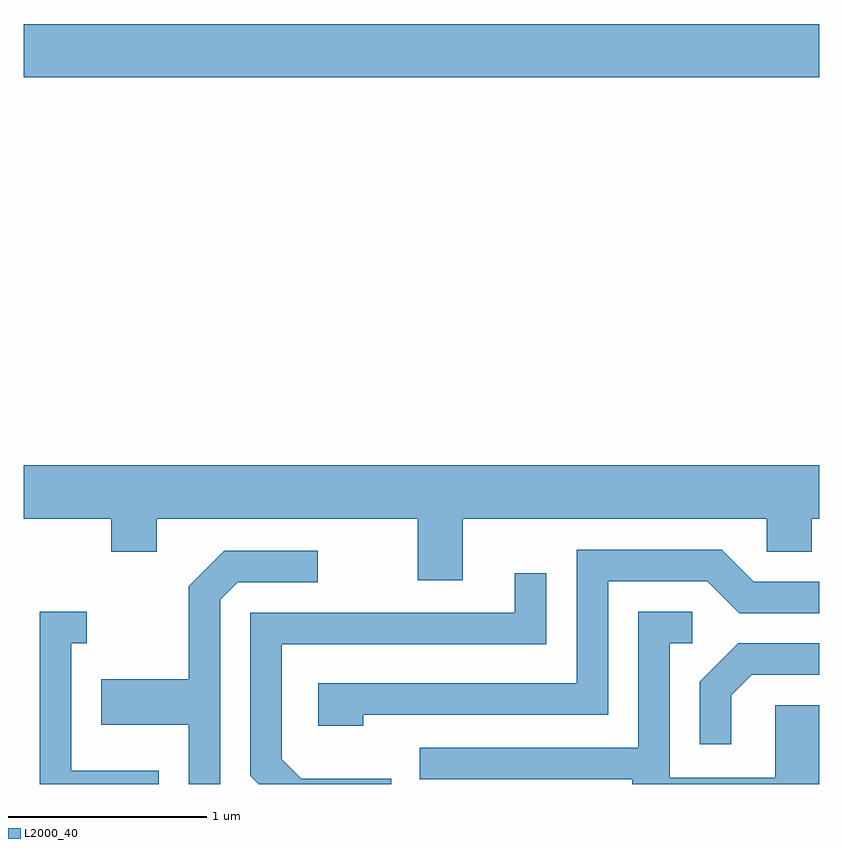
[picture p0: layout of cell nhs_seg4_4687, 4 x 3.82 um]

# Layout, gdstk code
import gdstk
lib = gdstk.Library(unit=1e-6, precision=1e-09)
def R(c, l, rs):  # rectangles x0, y0, x1, y1
    for r in rs: c.add(gdstk.rectangle(r[:2], r[2:], *l))
def P(c, l, *ps):  # polygons
    for p in ps: c.add(gdstk.Polygon(p, *l))
L2000_40 = (2000, 40)

nhs_seg4_4687 = lib.new_cell('nhs_seg4_4687')
R(nhs_seg4_4687, L2000_40, [(321.611,1383.536,325.611,1383.804)])
P(nhs_seg4_4687, L2000_40, [(323.819,1381.316),(325.346,1381.316),(325.346,1381.151),(325.574,1381.151),(325.574,1381.316),(325.611,1381.316),(325.611,1381.584),(321.611,1381.584),(321.611,1381.316),(322.051,1381.316),(322.051,1381.151),(322.279,1381.151),(322.279,1381.316),(323.591,1381.316),(323.591,1381.006),(323.819,1381.006)],
  [(323.319,1380.331),(324.549,1380.331),(324.549,1381.001),(325.049,1381.001),(325.209,1380.841),(325.611,1380.841),(325.611,1380.999),(325.282,1380.999),(325.122,1381.159),(324.391,1381.159),(324.391,1380.489),(323.091,1380.489),(323.091,1380.276),(323.319,1380.276)],
  [(322.599,1380.909),(322.687,1380.996),(323.088,1380.996),(323.088,1381.154),(322.619,1381.154),(322.441,1380.977),(322.441,1380.509),(322.001,1380.509),(322.001,1380.281),(322.441,1380.281),(322.441,1379.982),(322.599,1379.982)],
  [(323.459,1380.009),(323.007,1380.009),(322.909,1380.107),(322.909,1380.686),(324.239,1380.686),(324.239,1381.043),(324.081,1381.043),(324.081,1380.844),(322.751,1380.844),(322.751,1380.024),(322.793,1379.982),(323.459,1379.982)],
  [(325.611,1380.379),(325.391,1380.379),(325.391,1380.014),(324.859,1380.014),(324.859,1380.691),(324.973,1380.691),(324.973,1380.849),(324.701,1380.849),(324.701,1380.164),(323.603,1380.164),(323.603,1380.006),(324.671,1380.006),(324.671,1379.982),(325.611,1379.982)],
  [(322.289,1380.049),(321.849,1380.049),(321.849,1380.691),(321.928,1380.691),(321.928,1380.849),(321.691,1380.849),(321.691,1379.982),(322.289,1379.982)],
  [(325.169,1380.429),(325.272,1380.531),(325.611,1380.531),(325.611,1380.689),(325.204,1380.689),(325.011,1380.497),(325.011,1380.183),(325.169,1380.183)])

lib.write_gds('nhs_seg4_4687.gds')
